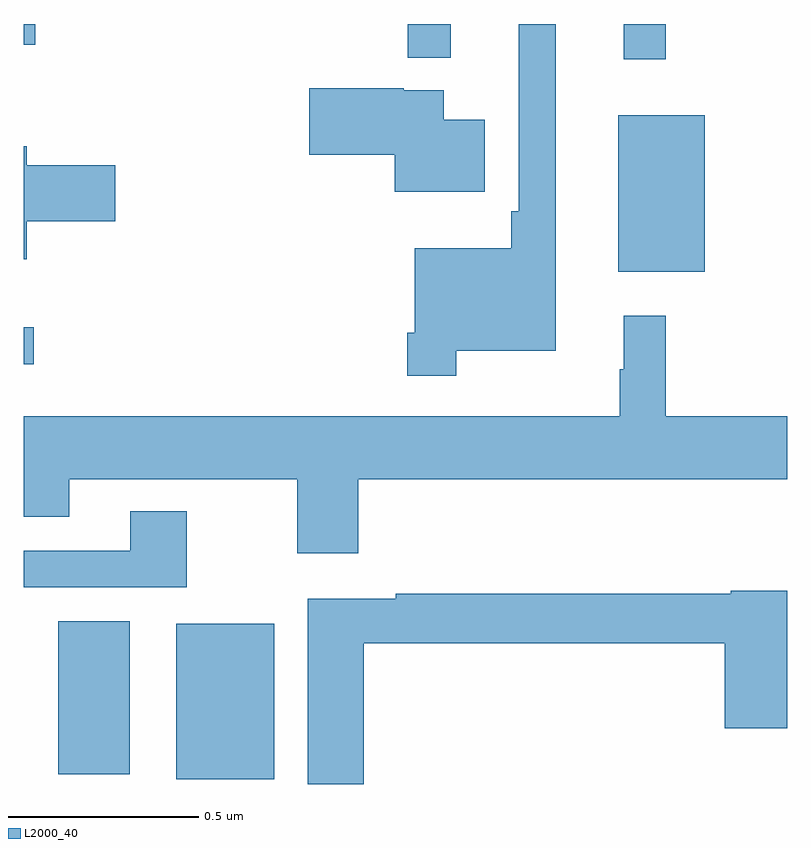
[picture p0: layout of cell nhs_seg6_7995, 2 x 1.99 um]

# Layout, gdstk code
import gdstk
lib = gdstk.Library(unit=1e-6, precision=1e-09)
def R(c, l, rs):  # rectangles x0, y0, x1, y1
    for r in rs: c.add(gdstk.rectangle(r[:2], r[2:], *l))
def P(c, l, *ps):  # polygons
    for p in ps: c.add(gdstk.Polygon(p, *l))
L2000_40 = (2000, 40)

nhs_seg6_7995 = lib.new_cell('nhs_seg6_7995')
R(nhs_seg6_7995, L2000_40, [(215.399,974.522,215.656,974.929), (215.09,974.534,215.278,974.935), (215,975.608,215.026,975.705), (216.557,975.851,216.784,976.261), (216.572,976.407,216.682,976.5), (216.006,976.412,216.119,976.5), (215,976.446,215.03,976.5)])
P(nhs_seg6_7995, L2000_40, [(216.133,975.644),(216.394,975.644),(216.394,976.5),(216.297,976.5),(216.297,976.009),(216.277,976.009),(216.277,975.913),(216.024,975.913),(216.024,975.691),(216.004,975.691),(216.004,975.579),(216.133,975.579)],
  [(216.208,976.249),(216.1,976.249),(216.1,976.327),(215.996,976.327),(215.996,976.332),(215.748,976.332),(215.748,976.157),(215.972,976.157),(215.972,976.061),(216.208,976.061)],
  [(215.008,975.983),(215.239,975.983),(215.239,976.13),(215.008,976.13),(215.008,976.18),(215,976.18),(215,975.884),(215.008,975.884)],
  [(215.876,975.308),(217,975.308),(217,975.472),(216.682,975.472),(216.682,975.736),(216.572,975.736),(216.572,975.596),(216.561,975.596),(216.561,975.472),(215,975.472),(215,975.209),(215.119,975.209),(215.119,975.308),(215.716,975.308),(215.716,975.114),(215.876,975.114)],
  [(215.427,975.223),(215.279,975.223),(215.279,975.12),(215,975.12),(215,975.024),(215.427,975.024)],
  [(215.891,974.878),(216.836,974.878),(216.836,974.655),(217,974.655),(217,975.015),(216.852,975.015),(216.852,975.007),(215.974,975.007),(215.974,974.994),(215.744,974.994),(215.744,974.509),(215.891,974.509)])

lib.write_gds('nhs_seg6_7995.gds')
